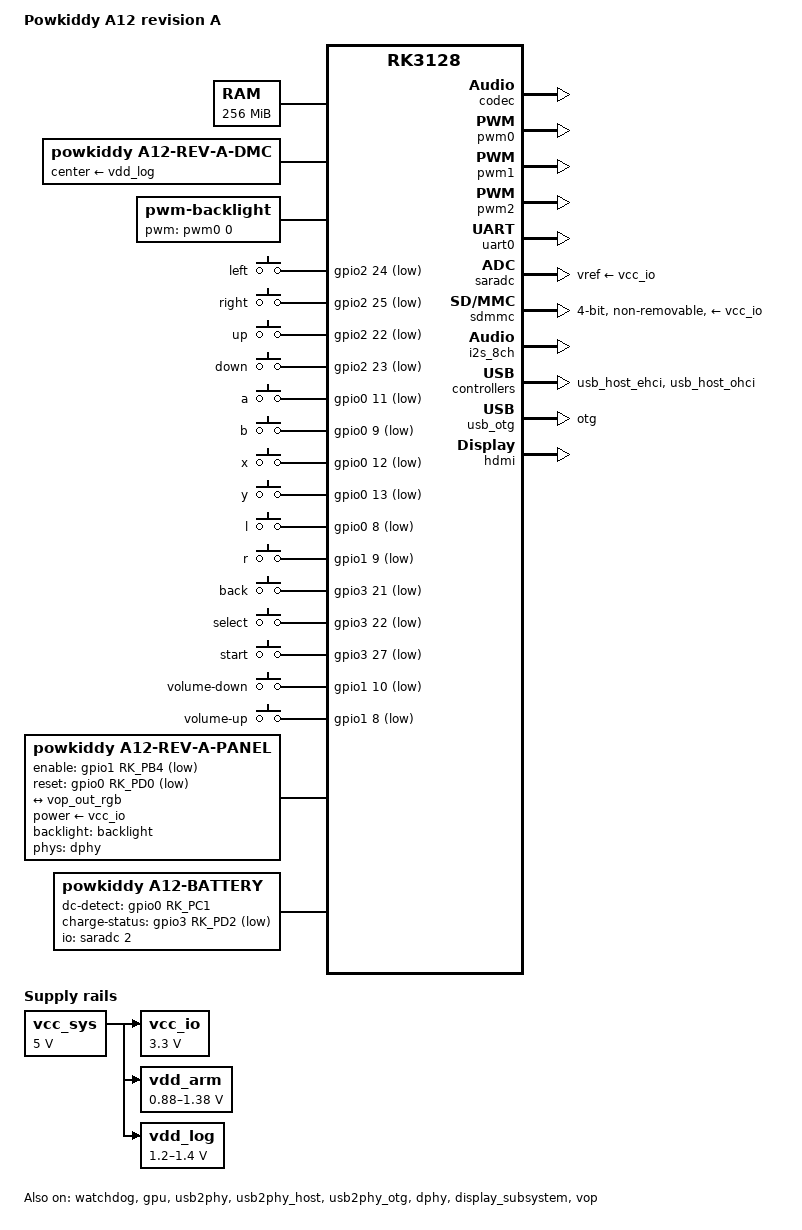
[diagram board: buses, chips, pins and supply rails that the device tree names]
// SPDX-License-Identifier: GPL-2.0-or-later
/* Based on RK3128-CFW's rk3128-powkiddy-a13-rev-ab and KNULLI 5685dd7. */
/dts-v1/;
#include "rk3128.dtsi"
#include <dt-bindings/input/input.h>
#include <dt-bindings/pwm/pwm.h>

/ {
	model = "Powkiddy A12 revision A";
	compatible = "powkiddy,a12-rev-a", "rockchip,rk3128";

	aliases { mmc0 = &sdmmc; };
	chosen { stdout-path = "serial0:115200n8"; };
	memory@60000000 { device_type = "memory"; reg = <0x60000000 0x10000000>; };
	cpus { /delete-property/ enable-method; };
	psci {
		compatible = "arm,psci-1.0";
		method = "smc";
	};
	reserved-memory {
		#address-cells = <1>;
		#size-cells = <1>;
		ranges;

		/* Below U-Boot's FDT load address and the TEE hole; survives warm reset. */
		ramoops@67e00000 {
			compatible = "ramoops";
			reg = <0x67e00000 0x100000>;
			record-size = <0x20000>;
			console-size = <0x80000>;
			pmsg-size = <0x20000>;
			ecc-size = <16>;
		};
	};
	/* Timings and 456 MHz ceiling captured from the owner's live A12 KNULLI.
	 * The 300 MHz loader remains unchanged; TEE switches to 456 MHz at probe.
	 */
	dmc {
		compatible = "powkiddy,a12-rev-a-dmc";
		clocks = <&cru PLL_DPLL>, <&cru ARMCLK>;
		clock-names = "dpll", "cpu";
		center-supply = <&vdd_log>;
		rockchip,display = <&display_subsystem>;
		rockchip,ddr_timing = <&ddr_timing>;
		vop-dclk-mode = <1>;
		min-cpu-freq = <600000>;
		operating-points-v2 = <&dmc_opp_table>;
	};
	dmc_opp_table: dmc-opp-table {
		compatible = "operating-points-v2";
		opp-300000000 {
			opp-hz = /bits/ 64 <300000000>;
			opp-microvolt = <1200000 1200000 1400000>;
		};
		opp-456000000 {
			opp-hz = /bits/ 64 <456000000>;
			opp-microvolt = <1200000 1200000 1400000>;
		};
	};
	ddr_timing: ddr-timing {
		ddr3_speed_bin = <21>;
		pd_idle = <64>;
		sr_idle = <1>;
		auto_pd_dis_freq = <300>;
		auto_sr_dis_freq = <300>;
		ddr3_dll_dis_freq = <300>;
		lpddr2_dll_dis_freq = <300>;
		phy_dll_dis_freq = <266>;
		ddr3_odt_dis_freq = <333>;
		phy_ddr3_odt_disb_freq = <333>;
		ddr3_drv = <0>;
		ddr3_odt = <64>;
		phy_ddr3_clk_drv = <11>;
		phy_ddr3_cmd_drv = <11>;
		phy_ddr3_dqs_drv = <11>;
		phy_ddr3_odt = <4>;
		lpddr2_drv = <1>;
		phy_lpddr2_clk_drv = <11>;
		phy_lpddr2_cmd_drv = <11>;
		phy_lpddr2_dqs_drv = <11>;
		ddr_2t = <0>;
	};

	vcc_sys: regulator-vcc-sys {
		compatible = "regulator-fixed";
		regulator-name = "vcc_sys";
		regulator-min-microvolt = <5000000>;
		regulator-max-microvolt = <5000000>;
		regulator-always-on;
		regulator-boot-on;
	};
	vcc_io: regulator-vcc-io {
		compatible = "regulator-fixed";
		regulator-name = "vcc_io";
		regulator-min-microvolt = <3300000>;
		regulator-max-microvolt = <3300000>;
		vin-supply = <&vcc_sys>;
		regulator-always-on;
		regulator-boot-on;
	};
	vdd_arm: regulator-vdd-arm {
		compatible = "pwm-regulator";
		regulator-name = "vdd_arm";
		pwms = <&pwm1 0 5000 PWM_POLARITY_INVERTED>;
		pwm-dutycycle-range = <0 100>;
		regulator-min-microvolt = <880000>;
		regulator-max-microvolt = <1380000>;
		pwm-supply = <&vcc_sys>;
		regulator-always-on;
		regulator-boot-on;
	};
	vdd_log: regulator-vdd-log {
		compatible = "pwm-regulator";
		regulator-name = "vdd_log";
		pwms = <&pwm2 0 5000 PWM_POLARITY_INVERTED>;
		/* Match KNULLI's DMC floor while preserving the 0.9--1.4 V PWM slope. */
		pwm-dutycycle-range = <60 100>;
		regulator-min-microvolt = <1200000>;
		regulator-max-microvolt = <1400000>;
		pwm-supply = <&vcc_sys>;
		regulator-always-on;
		regulator-boot-on;
	};
	backlight: backlight {
		compatible = "pwm-backlight";
		pwms = <&pwm0 0 25000 0>;
		/* Linear like KNULLI; level 200 equals KNULLI's default duty. */
		brightness-levels = <0 255>;
		num-interpolated-steps = <255>;
		default-brightness-level = <200>;
	};
	stick {
		compatible = "gpio-keys-polled";
		label = "stick";
		poll-interval = <20>;
		autorepeat;
		left { label = "left"; linux,code = <BTN_DPAD_LEFT>; gpios = <&gpio2 24 GPIO_ACTIVE_LOW>; };
		right { label = "right"; linux,code = <BTN_DPAD_RIGHT>; gpios = <&gpio2 25 GPIO_ACTIVE_LOW>; };
		up { label = "up"; linux,code = <BTN_DPAD_UP>; gpios = <&gpio2 22 GPIO_ACTIVE_LOW>; };
		down { label = "down"; linux,code = <BTN_DPAD_DOWN>; gpios = <&gpio2 23 GPIO_ACTIVE_LOW>; };
		a { label = "a"; linux,code = <BTN_A>; gpios = <&gpio0 11 GPIO_ACTIVE_LOW>; };
		b { label = "b"; linux,code = <BTN_B>; gpios = <&gpio0 9 GPIO_ACTIVE_LOW>; };
		x { label = "x"; linux,code = <BTN_X>; gpios = <&gpio0 12 GPIO_ACTIVE_LOW>; };
		y { label = "y"; linux,code = <BTN_Y>; gpios = <&gpio0 13 GPIO_ACTIVE_LOW>; };
		l { label = "l"; linux,code = <BTN_TL>; gpios = <&gpio0 8 GPIO_ACTIVE_LOW>; };
		r { label = "r"; linux,code = <BTN_TR>; gpios = <&gpio1 9 GPIO_ACTIVE_LOW>; };
		back { label = "back"; linux,code = <BTN_MODE>; gpios = <&gpio3 21 GPIO_ACTIVE_LOW>; };
		select { label = "select"; linux,code = <BTN_SELECT>; gpios = <&gpio3 22 GPIO_ACTIVE_LOW>; };
		start { label = "start"; linux,code = <BTN_START>; gpios = <&gpio3 27 GPIO_ACTIVE_LOW>; };
		volume-down { label = "volume-down"; linux,code = <KEY_VOLUMEDOWN>; gpios = <&gpio1 10 GPIO_ACTIVE_LOW>; };
		volume-up { label = "volume-up"; linux,code = <KEY_VOLUMEUP>; gpios = <&gpio1 8 GPIO_ACTIVE_LOW>; };
	};
	panel {
		compatible = "powkiddy,a12-rev-a-panel";
		power-supply = <&vcc_io>;
		backlight = <&backlight>;
		phys = <&dphy>;
		phy-names = "rgb";
		enable-gpios = <&gpio1 RK_PB4 GPIO_ACTIVE_LOW>;
		reset-gpios = <&gpio0 RK_PD0 GPIO_ACTIVE_LOW>;
		port { panel_in: endpoint { remote-endpoint = <&vop_out_rgb>; }; };
	};
	battery {
		compatible = "powkiddy,a12-battery";
		io-channels = <&saradc 2>;
		io-channel-names = "battery";
		dc-detect-gpios = <&gpio0 RK_PC1 GPIO_ACTIVE_HIGH>;
		charge-status-gpios = <&gpio3 RK_PD2 GPIO_ACTIVE_LOW>;
	};
	sound {
		compatible = "simple-audio-card";
		simple-audio-card,name = "A12 Audio";
		simple-audio-card,format = "i2s";
		simple-audio-card,mclk-fs = <256>;
		simple-audio-card,cpu { sound-dai = <&i2s_8ch>; };
		simple-audio-card,codec { sound-dai = <&codec>; };
	};
	codec: codec@20030000 {
		compatible = "rockchip,rk3128-codec";
		reg = <0x20030000 0x4000>;
		interrupts = <GIC_SPI 64 IRQ_TYPE_LEVEL_HIGH>;
		clocks = <&cru PCLK_ACODEC>, <&cru SCLK_I2S0>;
		clock-names = "g_pclk_acodec", "i2s_clk";
		rockchip,grf = <&grf>;
		#sound-dai-cells = <0>;
		spk-ctl-gpios = <&gpio1 RK_PA3 GPIO_ACTIVE_HIGH>;
		spk-mute-delay = <5>;
		hp-mute-delay = <5>;
		spk_volume = <25>;
		hp_volume = <25>;
		capture_volume = <26>;
		rk312x_for_mid = <0>;
		is_rk3128 = <1>;
		codec_hp_det = <1>;
	};
};

&cpu0 { cpu-supply = <&vdd_arm>; enable-method = "psci"; };
&cpu1 { enable-method = "psci"; };
&cpu2 { enable-method = "psci"; };
&cpu3 { enable-method = "psci"; };
&timer2 { status = "disabled"; };
&timer3 { status = "disabled"; };
&timer4 { status = "disabled"; };
&timer5 { status = "disabled"; };
&watchdog { status = "okay"; };
&gpu { mali-supply = <&vdd_log>; status = "okay"; };
/* PD_LOGIC includes consumers without mainline voltage constraints. */
&gpu_opp_table {
	opp-200000000 { opp-microvolt = <1200000 1200000 1250000>; };
	opp-300000000 { opp-microvolt = <1200000 1200000 1250000>; };
	opp-400000000 { opp-microvolt = <1200000 1200000 1250000>; };
};
/* Working revision A KNULLI configures both bus sources at 300 MHz. */
&cru {
	assigned-clocks = <&cru ACLK_CPU>, <&cru HCLK_CPU>, <&cru PCLK_CPU>,
			  <&cru ACLK_PERI>, <&cru HCLK_PERI>, <&cru PCLK_PERI>;
	assigned-clock-rates = <300000000>, <150000000>, <75000000>,
			       <300000000>, <150000000>, <75000000>;
};
&pwm0 { status = "okay"; };
&pwm1 { status = "okay"; };
&pwm2 { status = "okay"; };
&uart0 {
	/* KNULLI uses TX/RX only. CTS steals the bootloader's high GPIO2_D5. */
	pinctrl-0 = <&uart0_xfer>;
	status = "okay";
};
&saradc { vref-supply = <&vcc_io>; status = "okay"; };
&sdmmc {
	bus-width = <4>;
	vmmc-supply = <&vcc_io>;
	vqmmc-supply = <&vcc_io>;
	/* The root filesystem lives here: retry errors, never tear the card down.
	 * Test 22's broken-cd poll failed under Wi-Fi load and the re-attach oopsed.
	 */
	non-removable;
	/* DMA through the PL330 (rk3128.dtsi). It faulted under combined SD and
	 * USB load (tests 22, 27) until kernel patch 0014 fixed the runtime PM
	 * underflow (test 56); A12_SD_DMA=no builds the PIO tree.
	 */
	disable-wp;
	cap-sd-highspeed;
	max-frequency = <50000000>;
	status = "okay";
};
&i2s_8ch {
	#sound-dai-cells = <0>;
	/delete-property/ pinctrl-0;
	/delete-property/ pinctrl-names;
	status = "okay";
};
/* Retain the UTMI clock, as in the working KNULLI revision A tree. */
&usb_host_ehci {
	clocks = <&cru HCLK_HOST2>, <&usb2phy>;
	clock-names = "usbhost", "utmi";
	status = "okay";
};
&usb_host_ohci {
	clocks = <&cru HCLK_HOST2>, <&usb2phy>;
	clock-names = "usbhost", "utmi";
	status = "okay";
};
&usb_otg { dr_mode = "otg"; status = "okay"; };
&usb2phy { status = "okay"; };
&usb2phy_host { status = "okay"; };
&usb2phy_otg { status = "okay"; };
/* KNULLI's RGB output uses the video PHY's TTL mode for DATA0--DATA9. */
&dphy {
	compatible = "powkiddy,a12-rev-a-ttl-phy";
	reg = <0x20038000 0x4000>, <0x10110000 0x4000>;
	clocks = <&cru SCLK_MIPI_24M>, <&cru PCLK_MIPIPHY>, <&cru PCLK_MIPI>;
	clock-names = "ref", "pclk", "host";
	status = "okay";
};
&display_subsystem { status = "okay"; };
&vop { pinctrl-names = "default"; pinctrl-0 = <&a12_rgb_pins>; status = "okay"; };
&vop_out {
	/delete-node/ endpoint@0;
	vop_out_rgb: endpoint@0 { reg = <0>; remote-endpoint = <&panel_in>; };
	vop_out_hdmi_a12: endpoint@2 { reg = <2>; remote-endpoint = <&hdmi_in_vop>; };
};
&hdmi_in_vop { remote-endpoint = <&vop_out_hdmi_a12>; };
&hdmi { status = "okay"; };
&pinctrl {
	a12 {
		a12_rgb_pins: rgb-pins {
			rockchip,pins = <2 RK_PB0 1 &pcfg_pull_none>, <2 RK_PB1 1 &pcfg_pull_none>,
				<2 RK_PB2 1 &pcfg_pull_none>, <2 RK_PB3 1 &pcfg_pull_none>,
				<2 RK_PB4 1 &pcfg_pull_none>, <2 RK_PB5 1 &pcfg_pull_none>,
				<2 RK_PB6 1 &pcfg_pull_none>, <2 RK_PB7 1 &pcfg_pull_none>,
				<2 RK_PC0 1 &pcfg_pull_none>, <2 RK_PC1 1 &pcfg_pull_none>,
				<2 RK_PC2 1 &pcfg_pull_none>, <2 RK_PC3 1 &pcfg_pull_none>;
		};
	};
};
